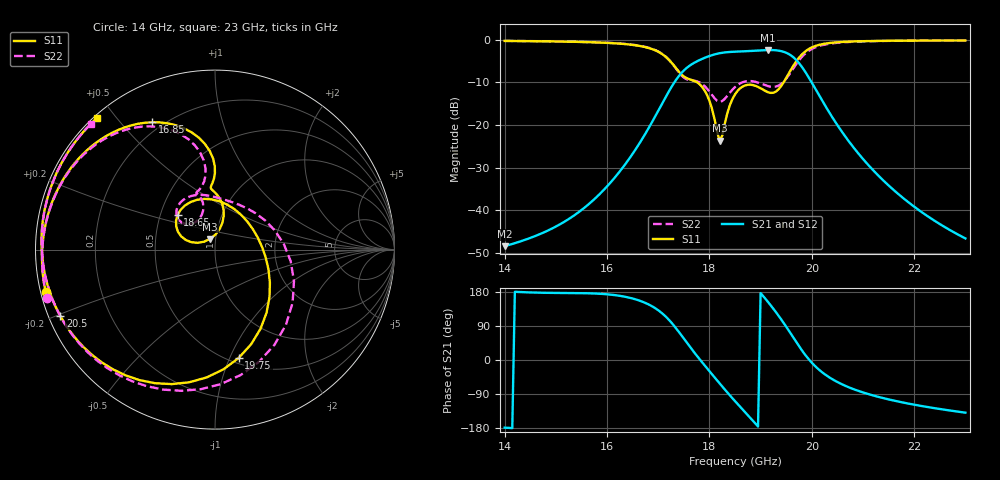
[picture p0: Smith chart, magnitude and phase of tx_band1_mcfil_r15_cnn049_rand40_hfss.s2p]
! Touchstone file exported from HFSS 3D Layout Design 2026.1.0
!  File:  D:/Work/SIM/ADS_AUTO_SIM/projects/RFSOC_RF/TX_Fillter.aedt
!  Generated:  12:49:11 AM Aug 31, 2026
!  Design:  TX_BAND1_MCFIL_R15_CNN049
!  Project:  TX_Fillter
# GHz S MA R 50.000000
! Terminal data exported
! Port[1] = Port1
! Port[2] = Port2
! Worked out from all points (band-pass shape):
!   181 points, 14 GHz to 23 GHz, reference 50 ohm
!   highest |S21| = -2.38 dB at 19.15 GHz (marker M1); lowest = -48.4 dB at 14 GHz (marker M2)
!   |S21| within 3 dB of the highest: 17.7 GHz to 19.74 GHz (2.041 GHz wide, 10.9 % of centre)
!   lowest |S11| = -23.7 dB at 18.2 GHz (marker M3), VSWR 1.14, Z = 47.1 + j5.66 ohm
!   |S11| at or under -10 dB: 17.76 GHz to 19.45 GHz (1.685 GHz wide, 9.05 % of centre)
!   |S22| runs from -14.5 to -0.1 dB; largest |S21 - S12| = 1.4e-14
!   S11 on the Smith chart (normalised r, x): 14 GHz: 0.01, -0.12; 16.85 GHz: 0.16, +0.61; 18.65 GHz: 0.61, +0.26; 19.75 GHz: 0.55, -1.08; 20.5 GHz: 0.03, -0.21; 23 GHz: 0.01, +0.44
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14  0.9726 -165.8  0.003799 -178.5  0.003799 -178.5  0.9736 -163.9
15.5  0.9454 163.8  0.01006 176.4  0.01006 176.4  0.9476 166.3
16.25  0.9033 142.4  0.02865 169.3  0.02865 169.3  0.9071 145.7
16.85  0.7914 116.3  0.1009 144.0  0.1009 144.0  0.7968 120.7
17  0.7265 107.5  0.1469 131.3  0.1469 131.3  0.7311 112.3
17.3  0.5068 91.2  0.3069 92.0  0.3069 92.0  0.5027 97.2
17.55  0.3574 93.3  0.4655 47.3  0.4655 47.3  0.3466 104.3
17.9  0.2586 81.1  0.6137 -13.0  0.6137 -13.0  0.2896 104.9
18.2  0.06555 114.1  0.6977 -61.8  0.6977 -61.8  0.1879 123.5
18.5  0.2296 154.2  0.7274 -108.5  0.7274 -108.5  0.279 139.2
18.65  0.2838 137.4  0.7334 -130.8  0.7334 -130.8  0.3188 130.4
18.9  0.289 102.1  0.7481 -167.9  0.7481 -167.9  0.3219 109.4
19.15  0.2426 53.4  0.7608 152.3  0.7608 152.3  0.2863 83.7
19.45  0.318 -20.4  0.7245 97.8  0.7245 97.8  0.3234 30.2
19.6  0.4542 -50.8  0.6532 67.4  0.6532 67.4  0.4267 -8.7
19.75  0.6177 -77.6  0.5342 36.5  0.5342 36.5  0.5758 -46.6
20  0.816 -114.2  0.315 -7.1  0.315 -7.1  0.7816 -95.8
20.25  0.9018 -139.3  0.1735 -37.3  0.1735 -37.3  0.8806 -127.5
20.5  0.9378 -156.7  0.09998 -58.1  0.09998 -58.1  0.9251 -148.5
20.9  0.9623 -176.1  0.04722 -81.1  0.04722 -81.1  0.9562 -170.7
21.5  0.9762 164.1  0.01959 -104.0  0.01959 -104.0  0.9739 167.7
23  0.9846 132.1  0.004682 -139.0  0.004682 -139.0  0.9845 134.6
